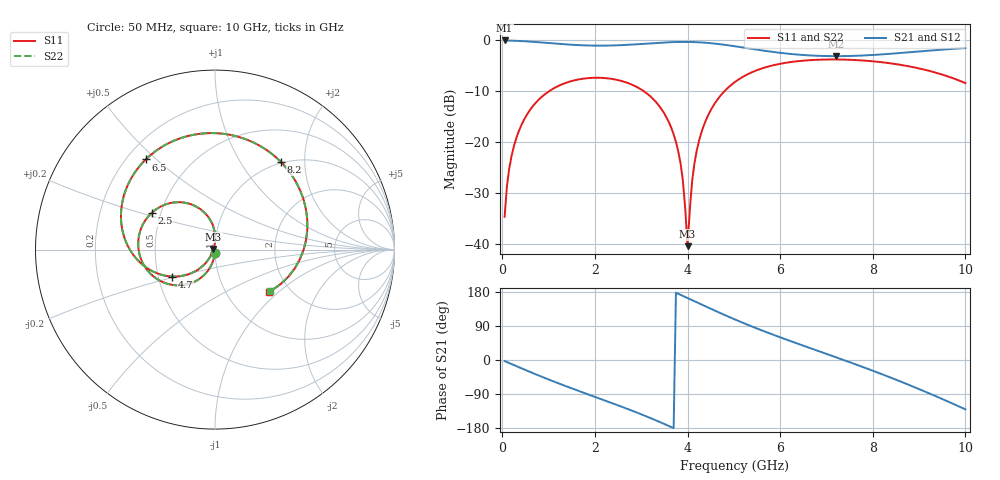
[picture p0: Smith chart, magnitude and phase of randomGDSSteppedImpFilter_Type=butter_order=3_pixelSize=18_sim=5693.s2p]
! freq	dB(S11)	phase(S11)	dB(S12)	phase(S12)
!  dB(S21)	phase(S21)	dB(S22)	phase(S22)
!S-par simulation data
#  GHz  S  DB  R 50
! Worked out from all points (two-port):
!   200 points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, 50 MHz to 10 GHz, reference 50 ohm
!   highest |S21| = 0.00 dB at 50 MHz (marker M1); lowest = -3.1 dB at 7.2 GHz (marker M2)
!   |S21| within 3 dB of the highest: start of sweep to 6.783 GHz; 7.662 GHz to end of sweep
!   lowest |S11| = -40.4 dB at 4 GHz (marker M3), VSWR 1.02, Z = 49.1 + j0.292 ohm
!   |S11| at or under -10 dB: start of sweep to 1.004 GHz; 3.062 GHz to 4.793 GHz (1.732 GHz wide, 44.1 % of centre)
!   |S22| runs from -39.5 to -3.7 dB; largest |S21 - S12| = 0
!   S11 on the Smith chart (normalised r, x): 50 MHz: 1.00, -0.04; 2.5 GHz: 0.44, +0.22; 4.7 GHz: 0.59, -0.19; 6.5 GHz: 0.28, +0.46; 8.2 GHz: 0.98, +1.53; 10 GHz: 1.57, -0.86
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0.05  -34.59 -92.8  -0.00 -2.7  -0.00 -2.7  -34.59 -92.8
0.2  -22.67 -101.1  -0.04 -10.7  -0.04 -10.7  -22.67 -101.1
0.5  -15.05 -116.8  -0.17 -26.4  -0.17 -26.4  -15.05 -116.8
1.1  -9.45 -146.7  -0.59 -56.2  -0.59 -56.2  -9.45 -146.7
1.75  -7.50 -176.6  -0.96 -86.1  -0.96 -86.1  -7.50 -176.5
2.5  -7.78 150.0  -0.95 -119.7  -0.95 -119.7  -7.78 150.1
3.4  -13.00 107.3  -0.45 -163.6  -0.45 -163.6  -13.00 107.6
3.8  -21.76 89.4  -0.30 174.7  -0.30 174.7  -21.75 90.2
3.9  -27.51 89.3  -0.29 169.2  -0.29 169.2  -27.46 90.8
4  -40.36 161.9  -0.29 163.5  -0.29 163.5  -39.54 161.7
4.1  -27.53 -124.2  -0.31 157.9  -0.31 157.9  -27.49 -125.7
4.2  -21.57 -124.2  -0.34 152.2  -0.34 152.2  -21.55 -124.9
4.7  -10.97 -147.9  -0.74 124.2  -0.74 124.2  -10.96 -148.1
5.05  -7.98 -165.9  -1.18 105.6  -1.18 105.6  -7.98 -166.0
5.75  -5.10 160.5  -2.14 71.3  -2.14 71.3  -5.10 160.5
6.5  -3.97 127.5  -2.86 37.8  -2.86 37.8  -3.97 127.6
6.7  -3.84 118.9  -2.97 29.1  -2.97 29.1  -3.84 119.1
7.2  -3.73 97.5  -3.08 7.5  -3.08 7.5  -3.73 97.7
8.2  -4.28 52.9  -2.74 -37.6  -2.74 -37.6  -4.28 53.2
8.35  -4.45 45.9  -2.64 -44.7  -2.64 -44.7  -4.45 46.3
9.25  -6.04 1.7  -1.98 -89.7  -1.98 -89.7  -6.04 2.2
10  -8.37 -37.9  -1.50 -130.3  -1.50 -130.3  -8.36 -37.3
